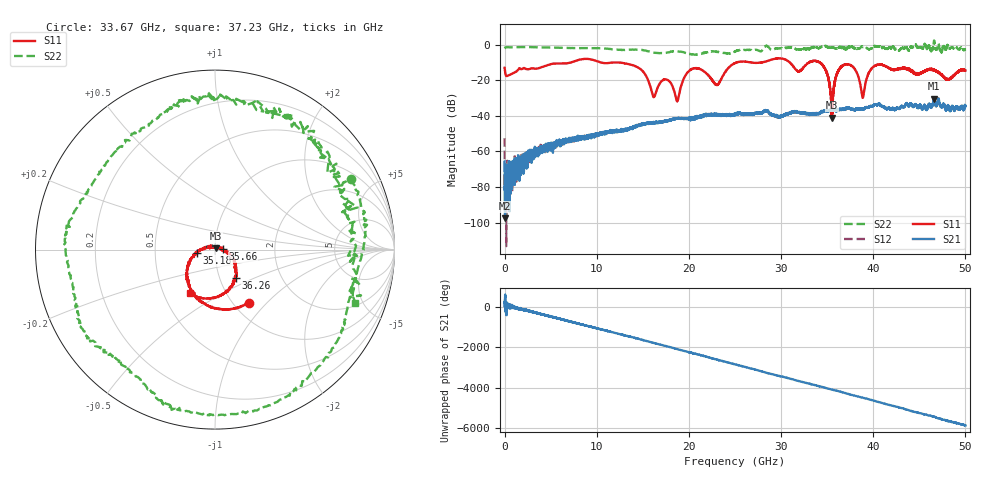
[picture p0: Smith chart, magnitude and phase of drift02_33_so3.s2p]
!Created with skrf (http://scikit-rf.org).
# Hz S RI R 50.0
!freq ReS11 ImS11 ReS21 ImS21 ReS12 ImS12 ReS22 ImS22
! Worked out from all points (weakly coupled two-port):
!   10001 points, 300 kHz to 50 GHz, reference 50 ohm
!   highest |S21| = -30.23 dB at 46.61 GHz (marker M1); lowest = -97.5 dB at 45.3 MHz (marker M2)
!   lowest |S11| = -41.0 dB at 35.51 GHz (marker M3), VSWR 1.02, Z = 50.4 + j0.815 ohm
!   |S11| at or under -10 dB: start of sweep to 7.177 GHz; 12.36 GHz to 25.16 GHz (12.8 GHz wide, 68.2 % of centre); 34.2 GHz to end of sweep (the widest 3 of 15)
!   |S22| runs from -5.7 to 2.4 dB; largest |S21 - S12| = 0.0029
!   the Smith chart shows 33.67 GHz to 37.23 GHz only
!   S11 on the Smith chart (normalised r, x): 33.67 GHz: 1.17, -0.80; 35.18 GHz: 0.82, -0.03; 35.66 GHz: 1.09, +0.00; 36.26 GHz: 1.19, -0.39; 37.23 GHz: 0.68, -0.36
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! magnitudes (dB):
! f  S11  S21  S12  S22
! 300 kHz  -13.0  -65.7  -52.5  -2.1
! 45.3 MHz  -15.0  -97.5  -72.7  -1.7
! 260.3 MHz  -17.6  -77.6  -70.3  -1.4
! 8.335 GHz  -8.2  -52.4  -51.9  -1.9
! 14.03 GHz  -11.8  -46.0  -46.2  -2.8
! 16.67 GHz  -23.3  -43.6  -43.5  -4.7
! 18.74 GHz  -31.7  -41.4  -41.2  -3.7
! 20.24 GHz  -13.9  -40.8  -41.6  -5.4
! 23.04 GHz  -22.6  -39.4  -39.1  -4.1
! 25 GHz  -10.3  -39.5  -39.2  -3.9
! 33.34 GHz  -9.4  -38.8  -39.0  -1.6
! 33.67 GHz  -9.1  -38.6  -38.8  -1.4
! 35.18 GHz  -19.9  -37.2  -37.3  -1.7
! 35.51 GHz  -41.0  -36.9  -36.8  -1.7
! 35.66 GHz  -27.2  -36.6  -36.8  -1.5
! 36.26 GHz  -14.2  -36.8  -36.5  -1.6
! 37.23 GHz  -11.0  -35.9  -35.5  -1.6
! 38.86 GHz  -29.9  -36.2  -36.0  -1.3
! 39.96 GHz  -12.7  -34.4  -34.4  -1.9
! 41.67 GHz  -13.0  -35.5  -35.4  -1.8
! 46.61 GHz  -14.4  -30.2  -30.4  2.4
! 50 GHz  -14.5  -34.2  -34.3  -2.6
